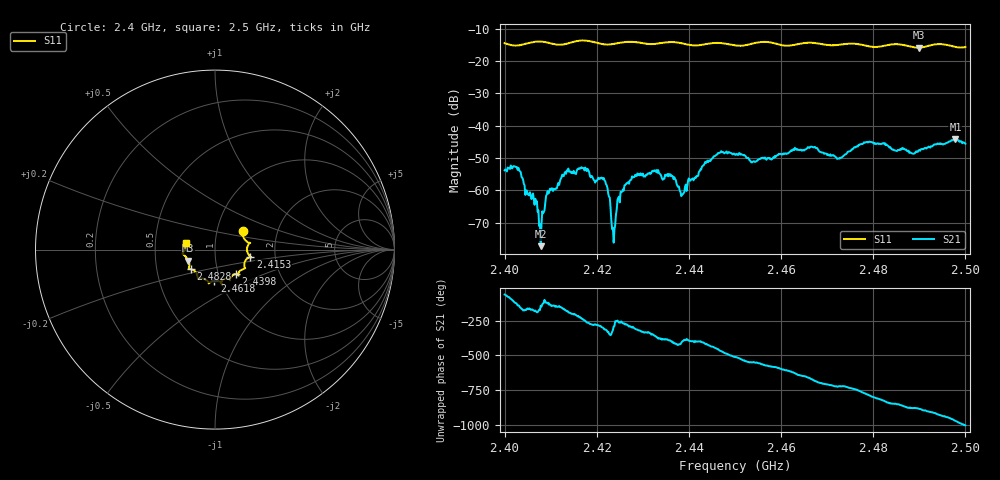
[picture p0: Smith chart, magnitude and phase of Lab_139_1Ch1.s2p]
# Hz S RI R 50
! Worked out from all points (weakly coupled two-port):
!   601 points, 2.4 GHz to 2.5 GHz, reference 50 ohm
!   highest |S21| = -44.20 dB at 2.4978 GHz (marker M1); lowest = -77.3 dB at 2.4078 GHz (marker M2)
!   lowest |S11| = -15.9 dB at 2.4898 GHz (marker M3), VSWR 1.38, Z = 36.8 - j4.63 ohm
!   |S11| at or under -10 dB: start of sweep to end of sweep
!   S12 and S22 are empty: the file has one direction only
!   S11 on the Smith chart (normalised r, x): 2.4 GHz: 1.33, +0.29; 2.4153 GHz: 1.48, -0.12; 2.4398 GHz: 1.21, -0.34; 2.4618 GHz: 0.94, -0.33; 2.4828 GHz: 0.74, -0.17; 2.5 GHz: 0.72, +0.06
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2.4e9  0.1552 0.1064  0.000948 -0.0018  0 0  0 0
2.403e9  0.1638 0.0591  -0.00173 -0.0014  0 0  0 0
2.407833e9  0.1953 0.038  -0.000109 -8.24e-05  0 0  0 0
2.4095e9  0.1885 0.0314  -0.000465 -0.000757  0 0  0 0
2.415333e9  0.1968 -0.0387  -0.00164 0.000853  0 0  0 0
2.416667e9  0.2028 -0.0429  -0.0014 0.00179  0 0  0 0
2.421667e9  0.1701 -0.0605  0.000996 0.00103  0 0  0 0
2.423667e9  0.163 -0.0845  6.09e-05 0.000142  0 0  0 0
2.4265e9  0.168 -0.1031  0.000153 0.00128  0 0  0 0
2.433333e9  0.13 -0.1339  0.00193 -0.000688  0 0  0 0
2.4385e9  0.1259 -0.1385  0.000631 -0.000568  0 0  0 0
2.439833e9  0.1153 -0.1361  0.00122 -0.000754  0 0  0 0
2.4465e9  0.0841 -0.1705  -0.00074 -0.00367  0 0  0 0
2.45e9  0.0648 -0.1618  -0.0031 -0.00172  0 0  0 0
2.461833e9  -0.00308 -0.1726  -0.00107 0.00375  0 0  0 0
2.466667e9  -0.0346 -0.1882  0.00319 0.00346  0 0  0 0
2.4725e9  -0.0758 -0.1604  0.0031 -0.000171  0 0  0 0
2.482833e9  -0.1361 -0.1089  -0.00217 -0.00465  0 0  0 0
2.483333e9  -0.1401 -0.1087  -0.00246 -0.00409  0 0  0 0
2.489833e9  -0.1485 -0.0613  -0.00399 -0.00108  0 0  0 0
2.497833e9  -0.1649 0.00312  -0.00189 0.00587  0 0  0 0
2.5e9  -0.1595 0.0391  0.00138 0.00504  0 0  0 0
